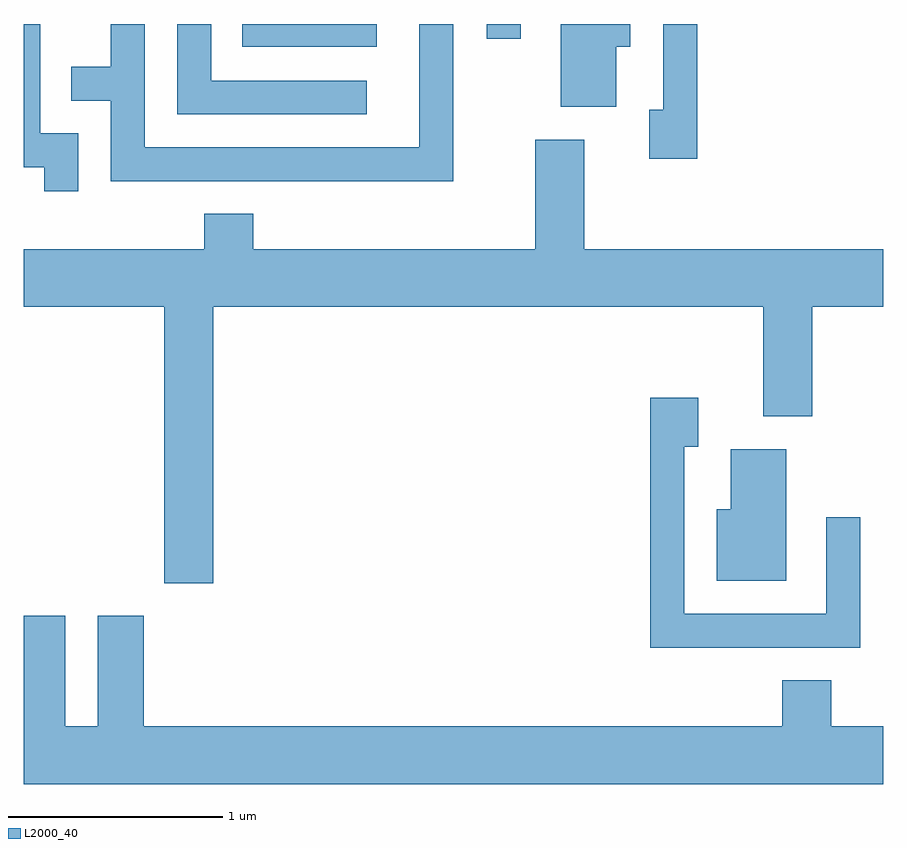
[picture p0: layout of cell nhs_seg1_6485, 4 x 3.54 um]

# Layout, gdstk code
import gdstk
lib = gdstk.Library(unit=1e-6, precision=1e-09)
def R(c, l, rs):  # rectangles x0, y0, x1, y1
    for r in rs: c.add(gdstk.rectangle(r[:2], r[2:], *l))
def P(c, l, *ps):  # polygons
    for p in ps: c.add(gdstk.Polygon(p, *l))
L2000_40 = (2000, 40)

nhs_seg1_6485 = lib.new_cell('nhs_seg1_6485')
R(nhs_seg1_6485, L2000_40, [(380.628,969.606,381.254,969.712), (381.766,969.643,381.924,969.712)])
P(nhs_seg1_6485, L2000_40, [(381.609,969.712),(381.451,969.712),(381.451,969.139),(380.174,969.139),(380.174,969.712),(380.016,969.712),(380.016,969.514),(379.833,969.514),(379.833,969.356),(380.016,969.356),(380.016,968.981),(381.609,968.981)],
  [(379.864,969.204),(379.689,969.204),(379.689,969.712),(379.611,969.712),(379.611,969.046),(379.706,969.046),(379.706,968.933),(379.864,968.933)],
  [(382.744,969.712),(382.586,969.712),(382.586,969.314),(382.521,969.314),(382.521,969.086),(382.744,969.086)],
  [(382.369,969.606),(382.434,969.606),(382.434,969.712),(382.111,969.712),(382.111,969.326),(382.369,969.326)],
  [(381.208,969.449),(380.484,969.449),(380.484,969.712),(380.326,969.712),(380.326,969.291),(381.208,969.291)],
  [(380.494,968.396),(383.051,968.396),(383.051,967.886),(383.279,967.886),(383.279,968.396),(383.611,968.396),(383.611,968.664),(382.219,968.664),(382.219,969.174),(381.991,969.174),(381.991,968.664),(380.679,968.664),(380.679,968.829),(380.451,968.829),(380.451,968.664),(379.611,968.664),(379.611,968.396),(380.266,968.396),(380.266,967.111),(380.494,967.111)],
  [(383.504,967.418),(383.346,967.418),(383.346,966.969),(382.684,966.969),(382.684,967.746),(382.749,967.746),(382.749,967.974),(382.526,967.974),(382.526,966.811),(383.504,966.811)],
  [(383.159,967.734),(382.901,967.734),(382.901,967.454),(382.836,967.454),(382.836,967.121),(383.159,967.121)],
  [(383.611,966.444),(383.369,966.444),(383.369,966.659),(383.141,966.659),(383.141,966.444),(380.169,966.444),(380.169,966.959),(379.956,966.959),(379.956,966.444),(379.804,966.444),(379.804,966.959),(379.611,966.959),(379.611,966.176),(383.611,966.176)])

lib.write_gds('nhs_seg1_6485.gds')
